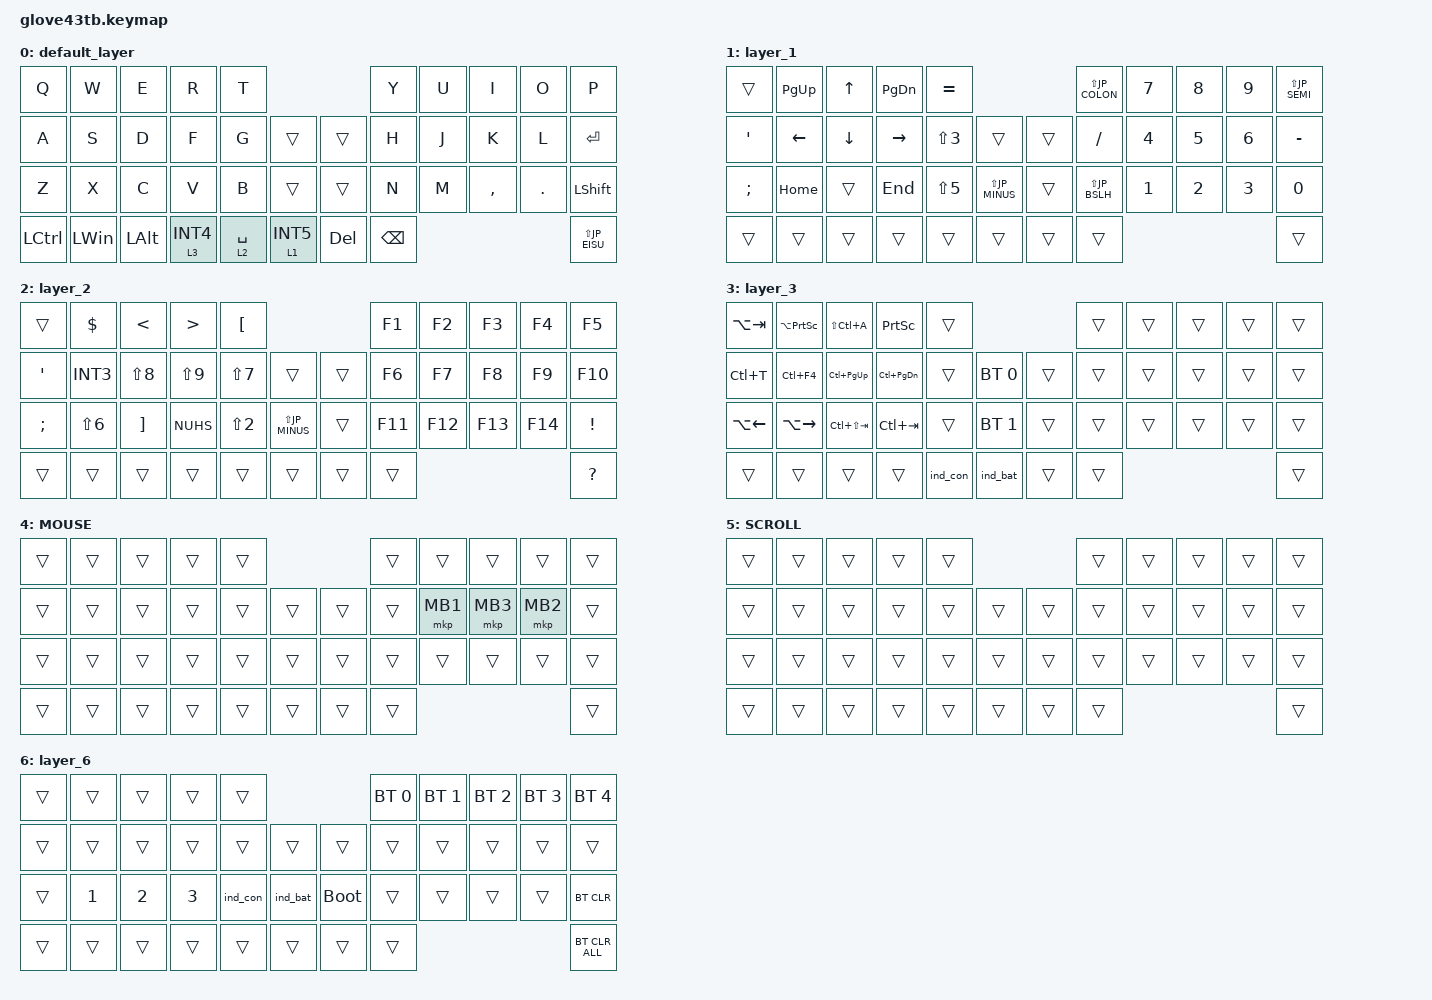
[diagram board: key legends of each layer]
#define ZMK_POINTING_DEFAULT_SCRL_VAL 100

#include <behaviors/rgbled_widget.dtsi>
#include <dt-bindings/zmk/input_transform.h>
#include <input/processors.dtsi>
#include <zephyr/dt-bindings/input/input-event-codes.h>
#include <behaviors.dtsi>
#include <dt-bindings/zmk/bt.h>
#include <dt-bindings/zmk/keys.h>
#include <dt-bindings/zmk/pointing.h>

// OS設定を日本語キーボードのまま使用するための変換定義

#define JP_ZKHK  GRAVE        // Zenkaku ↔ Hankaku ↔ Kanji (半角 ↔ 全角 ↔ 漢字)
#define JP_MINUS MINUS        // -
#define JP_CARET EQUAL        // ^
#define JP_YEN   INT3         // ¥
#define JP_AT    LBKT         // @
#define JP_LBKT  RBKT         // [
#define JP_EISU  CAPS         // Eisū (英数)
#define JP_SEMI  SEMI         // ;
#define JP_COLON SQT          // :
#define JP_RBKT  NUHS         // ]
#define JP_COMMA COMMA        // ,
#define JP_DOT   DOT          // .
#define JP_SLASH SLASH        // /
#define JP_BSLH  INT1         // (backslash)
#define JP_MHEN  INT5         // Muhenkan (無変換)
#define JP_HENK  INT4         // Henkan (変換)
#define JP_KANA  INT2         // Katakana ↔ Hiragana ↔ Rōmaji (カタカナ ↔ ひらがな ↔ ローマ字)
#define JP_EXCL  LS(N1)       // !
#define JP_DQT   LS(N2)       // "
#define JP_HASH  LS(N3)       // #
#define JP_DLLR  LS(N4)       // $
#define JP_PRCNT LS(N5)       // %
#define JP_AMPS  LS(N6)       // &
#define JP_SQT   LS(N7)       // '
#define JP_LPAR  LS(N8)       // (
#define JP_RPAR  LS(N9)       // )
#define JP_EQUAL LS(JP_MINUS) // =
#define JP_TILDE LS(JP_CARET) // ~
#define JP_PIPE  LS(JP_YEN)   // |
#define JP_GRAVE LS(JP_AT)    // `
#define JP_LBRC  LS(JP_LBKT)  // {
#define JP_CAPS  LS(JP_EISU)  // Caps Lock
#define JP_PLUS  LS(JP_SEMI)  // +
#define JP_ASTRK LS(JP_COLON) // *
#define JP_RBRC  LS(JP_RBKT)  // }
#define JP_LT    LS(JP_COMMA) // <
#define JP_RT    LS(JP_DOT)   // >
#define JP_QMARK LS(JP_SLASH) // ?
#define JP_UNDER LS(JP_BSLH)  // _

&lt {
    flavor = "hold-preferred";
    hold-while-undecided;
};

&mt {
    flavor = "tap-preferred";
    tapping-term-ms = <150>;
};

/ {
    input_processors {
        zip_wheel_scaler: zip_wheel_scaler {
            compatible = "zmk,input-processor-scaler";
            #input-processor-cells = <2>;
            type = <INPUT_EV_REL>;
            codes = <INPUT_REL_WHEEL>;
            track-remainders;
        };
    };
};

/ {
    combos {
        compatible = "zmk,combos";

        tab {
            bindings = <&kp TAB>;
            key-positions = <0 1>;
            layers = <0>;
        };

        esc {
            bindings = <&kp ESCAPE>;
            key-positions = <1 2>;
            layers = <0>;
        };

        minus {
            bindings = <&kp MINUS>;
            key-positions = <7 8>;
            layers = <0>;
        };

        tilde {
            bindings = <&kp JP_TILDE>;
            key-positions = <9 8>;
            layers = <0>;
        };

        ins {
            bindings = <&kp INS>;
            key-positions = <30 31>;
            layers = <0>;
        };

        zkhk {
            bindings = <&kp JP_ZKHK>;
            key-positions = <31 32>;
            layers = <0>;
        };

        lclk {
            bindings = <&mkp LCLK>;
            key-positions = <18 19>;
            layers = <0>;
        };

        rclk {
            bindings = <&mkp RCLK>;
            key-positions = <19 20>;
            layers = <0>;
        };

        mclk {
            bindings = <&mkp MCLK>;
            key-positions = <18 20>;
            layers = <0>;
        };
    };

    macros {
        to_layer_0: to_layer_0 {
            compatible = "zmk,behavior-macro-one-param";
            #binding-cells = <1>;
            bindings = <&to 0 &macro_param_1to1 &kp MACRO_PLACEHOLDER>;
            label = "TO_LAYER_0";
        };
    };

    behaviors {
        lt_to_layer_0: lt_to_layer_0 {
            compatible = "zmk,behavior-hold-tap";
            label = "LAYER_TAP_TO_0";
            bindings = <&mo>, <&to_layer_0>;

            #binding-cells = <2>;
            tapping-term-ms = <200>;
        };

        sensor_rotate_kp: sensor_rotate_kp {
            compatible = "zmk,behavior-sensor-rotate-var";
            #sensor-binding-cells = <2>;
            bindings = <&kp>, <&kp>;
        };

        mouse_wheel_scroll: mouse_wheel_scroll {
            compatible = "zmk,behavior-sensor-rotate-var";
            #sensor-binding-cells = <2>;
            bindings = <&msc>, <&msc>;

            tap-ms = <20>;
        };
    };

    keymap {
        compatible = "zmk,keymap";

        default_layer {
            bindings = <
&kp Q      &kp W         &kp E         &kp R          &kp T                                       &kp Y          &kp U  &kp I      &kp O    &kp P
&kp A      &kp S         &kp D         &kp F          &kp G        &trans             &trans      &kp H          &kp J  &kp K      &kp L    &kp ENTER
&kp Z      &kp X         &kp C         &kp V          &kp B        &trans             &trans      &kp N          &kp M  &kp COMMA  &kp DOT  &kp LEFT_SHIFT
&kp LCTRL  &kp LEFT_WIN  &kp LEFT_ALT  &lt 3 JP_HENK  &lt 2 SPACE  &lt 1 JP_MHEN      &kp DELETE  &kp BACKSPACE                             &kp LS(JP_EISU)
            >;
        };

        layer_1 {
            bindings = <
&trans        &kp PAGE_UP     &kp UP_ARROW    &kp PAGE_DOWN    &kp JP_CARET                            &kp JP_ASTRK  &kp N7  &kp N8  &kp N9  &kp JP_PLUS
&kp JP_COLON  &kp LEFT_ARROW  &kp DOWN_ARROW  &kp RIGHT_ARROW  &kp JP_HASH   &trans            &trans  &kp SLASH     &kp N4  &kp N5  &kp N6  &kp MINUS
&kp JP_SEMI   &kp HOME        &trans          &kp END          &kp JP_PRCNT  &kp JP_EQUAL      &trans  &kp JP_UNDER  &kp N1  &kp N2  &kp N3  &kp N0
&trans        &trans          &trans          &trans           &trans        &trans            &trans  &trans                                &trans
            >;
        };

        layer_2 {
            bindings = <
&trans        &kp DOLLAR   &kp LESS_THAN  &kp GREATER_THAN  &kp JP_AT                             &kp F1   &kp F2   &kp F3   &kp F4   &kp F5
&kp JP_COLON  &kp JP_YEN   &kp JP_LPAR    &kp JP_RPAR       &kp JP_SQT  &trans            &trans  &kp F6   &kp F7   &kp F8   &kp F9   &kp F10
&kp JP_SEMI   &kp JP_AMPS  &kp JP_LBKT    &kp JP_RBKT       &kp JP_DQT  &kp JP_EQUAL      &trans  &kp F11  &kp F12  &kp F13  &kp F14  &kp EXCLAMATION
&trans        &trans       &trans         &trans            &trans      &trans            &trans  &trans                              &kp QUESTION
            >;
        };

        layer_3 {
            bindings = <
&kp LA(TAB)         &kp LA(PRINTSCREEN)  &kp LS(LC(A))    &kp PRINTSCREEN    &trans                              &trans  &trans  &trans  &trans  &trans
&kp LC(T)           &kp LC(F4)           &kp LC(PAGE_UP)  &kp LC(PAGE_DOWN)  &trans    &bt BT_SEL 0      &trans  &trans  &trans  &trans  &trans  &trans
&kp LA(LEFT_ARROW)  &kp LA(RIGHT_ARROW)  &kp LC(LS(TAB))  &kp LC(TAB)        &trans    &bt BT_SEL 1      &trans  &trans  &trans  &trans  &trans  &trans
&trans              &trans               &trans           &trans             &ind_con  &ind_bat          &trans  &trans                          &trans
            >;
        };

        MOUSE {
            bindings = <
&trans  &trans  &trans  &trans  &trans                      &trans  &trans    &trans    &trans    &trans
&trans  &trans  &trans  &trans  &trans  &trans      &trans  &trans  &mkp MB1  &mkp MB3  &mkp MB2  &trans
&trans  &trans  &trans  &trans  &trans  &trans      &trans  &trans  &trans    &trans    &trans    &trans
&trans  &trans  &trans  &trans  &trans  &trans      &trans  &trans                                &trans
            >;
        };

        SCROLL {
            bindings = <
&trans  &trans  &trans  &trans  &trans                      &trans  &trans  &trans  &trans  &trans
&trans  &trans  &trans  &trans  &trans  &trans      &trans  &trans  &trans  &trans  &trans  &trans
&trans  &trans  &trans  &trans  &trans  &trans      &trans  &trans  &trans  &trans  &trans  &trans
&trans  &trans  &trans  &trans  &trans  &trans      &trans  &trans                          &trans
            >;
        };

        layer_6 {
            bindings = <
&trans  &trans        &trans        &trans        &trans                               &bt BT_SEL 0  &bt BT_SEL 1  &bt BT_SEL 2  &bt BT_SEL 3  &bt BT_SEL 4
&trans  &trans        &trans        &trans        &trans    &trans        &trans       &trans        &trans        &trans        &trans        &trans
&trans  &kp NUMBER_1  &kp NUMBER_2  &kp NUMBER_3  &ind_con  &ind_bat      &bootloader  &trans        &trans        &trans        &trans        &bt BT_CLR
&trans  &trans        &trans        &trans        &trans    &trans        &trans       &trans                                                  &bt BT_CLR_ALL
            >;
        };
    };
};
